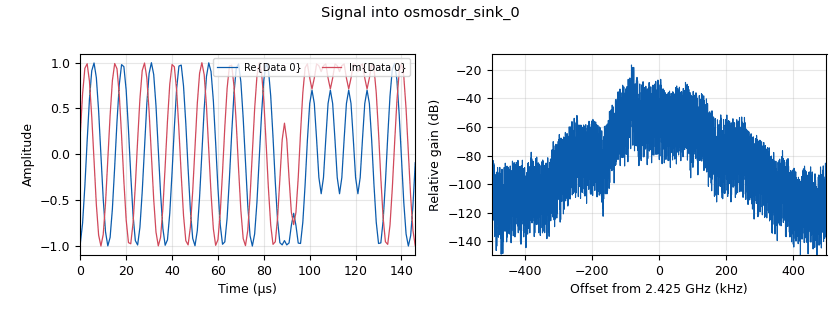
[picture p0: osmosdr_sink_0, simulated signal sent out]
<?xml version='1.0' encoding='utf-8'?>
<?grc format='1' created='3.7.10'?>
<flow_graph>
<block>
<key>options</key>
<param><key>id</key><value>gfsk</value></param>
<param><key>category</key><value>Custom</value></param>
<param><key>generate_options</key><value>wx_gui</value></param>
</block>
<block>
<key>variable_slider</key>
<param><key>id</key><value>bb_gain</value></param>
<param><key>converver</key><value>int_converter</value></param>
<param><key>value</key><value>30</value></param>
<param><key>label</key><value></value></param>
<param><key>max</key><value>100</value></param>
<param><key>min</key><value>0</value></param>
<param><key>num_steps</key><value>100</value></param>
<param><key>style</key><value>wx.SL_HORIZONTAL</value></param>
</block>
<block>
<key>variable</key>
<param><key>id</key><value>bitrate</value></param>
<param><key>_enabled</key><value>0</value></param>
<param><key>value</key><value>2000000</value></param>
</block>
<block>
<key>variable</key>
<param><key>id</key><value>bitrate</value></param>
<param><key>value</key><value>250000</value></param>
</block>
<block>
<key>variable</key>
<param><key>id</key><value>bw</value></param>
<param><key>value</key><value>samp_rate</value></param>
</block>
<block>
<key>variable_slider</key>
<param><key>id</key><value>ch</value></param>
<param><key>converver</key><value>int_converter</value></param>
<param><key>value</key><value>25</value></param>
<param><key>label</key><value></value></param>
<param><key>max</key><value>128</value></param>
<param><key>min</key><value>0</value></param>
<param><key>num_steps</key><value>128</value></param>
<param><key>style</key><value>wx.SL_HORIZONTAL</value></param>
</block>
<block>
<key>variable</key>
<param><key>id</key><value>fc</value></param>
<param><key>value</key><value>2400000000+ch*1000000</value></param>
</block>
<block>
<key>variable</key>
<param><key>id</key><value>fsk_deviation_hz</value></param>
<param><key>value</key><value>170000</value></param>
</block>
<block>
<key>variable_slider</key>
<param><key>id</key><value>if_gain</value></param>
<param><key>converver</key><value>int_converter</value></param>
<param><key>value</key><value>20</value></param>
<param><key>label</key><value></value></param>
<param><key>max</key><value>100</value></param>
<param><key>min</key><value>0</value></param>
<param><key>num_steps</key><value>100</value></param>
<param><key>style</key><value>wx.SL_HORIZONTAL</value></param>
</block>
<block>
<key>variable_slider</key>
<param><key>id</key><value>rf_gain</value></param>
<param><key>converver</key><value>int_converter</value></param>
<param><key>value</key><value>0</value></param>
<param><key>label</key><value></value></param>
<param><key>max</key><value>100</value></param>
<param><key>min</key><value>0</value></param>
<param><key>num_steps</key><value>100</value></param>
<param><key>style</key><value>wx.SL_HORIZONTAL</value></param>
</block>
<block>
<key>variable</key>
<param><key>id</key><value>samp_rate</value></param>
<param><key>value</key><value>1000000</value></param>
</block>
<block>
<key>blocks_vector_source_x</key>
<param><key>id</key><value>blocks_vector_source_x_1</value></param>
<param><key>maxoutbuf</key><value>20</value></param>
<param><key>minoutbuf</key><value>20</value></param>
<param><key>type</key><value>byte</value></param>
<param><key>repeat</key><value>True</value></param>
<param><key>vector</key><value>[0x00, 0xaa, 0xa2, 0x00, 0x09, 0x89, 0x0f, 0x00, 0x00, 0x00, 0x00, 0x00, 0x40, 0x00, 0x00, 0x00, 0x95, 0x7f, 0x1e]</value></param>
</block>
<block>
<key>digital_gfsk_mod</key>
<param><key>id</key><value>digital_gfsk_mod_0</value></param>
<param><key>bt</key><value>0.5</value></param>
<param><key>samples_per_symbol</key><value>samp_rate/bitrate</value></param>
<param><key>sensitivity</key><value>0.5</value></param>
</block>
<block>
<key>osmosdr_sink</key>
<param><key>id</key><value>osmosdr_sink_0</value></param>
<param><key>bb_gain0</key><value>bb_gain</value></param>
<param><key>bw0</key><value>samp_rate</value></param>
<param><key>freq0</key><value>fc</value></param>
<param><key>if_gain0</key><value>if_gain</value></param>
<param><key>gain0</key><value>rf_gain</value></param>
<param><key>args</key><value></value></param>
<param><key>type</key><value>fc32</value></param>
<param><key>sample_rate</key><value>samp_rate</value></param>
<param><key>sync</key><value></value></param>
</block>
<block>
<key>uhd_usrp_sink</key>
<param><key>id</key><value>uhd_usrp_sink_0</value></param>
<param><key>ant0</key><value></value></param>
<param><key>bw0</key><value>bitrate</value></param>
<param><key>center_freq0</key><value>fc</value></param>
<param><key>norm_gain0</key><value>False</value></param>
<param><key>gain0</key><value>0</value></param>
<param><key>clock_rate</key><value>0.0</value></param>
<param><key>dev_args</key><value>""</value></param>
<param><key>_enabled</key><value>0</value></param>
<param><key>type</key><value>fc32</value></param>
<param><key>samp_rate</key><value>samp_rate</value></param>
<param><key>hide_cmd_port</key><value>False</value></param>
<param><key>sync</key><value></value></param>
<param><key>len_tag_name</key><value></value></param>
</block>
<connection><source_block_id>blocks_vector_source_x_1</source_block_id><sink_block_id>digital_gfsk_mod_0</sink_block_id><source_key>0</source_key><sink_key>0</sink_key></connection>
<connection><source_block_id>digital_gfsk_mod_0</source_block_id><sink_block_id>osmosdr_sink_0</sink_block_id><source_key>0</source_key><sink_key>0</sink_key></connection>
<connection><source_block_id>digital_gfsk_mod_0</source_block_id><sink_block_id>uhd_usrp_sink_0</sink_block_id><source_key>0</source_key><sink_key>0</sink_key></connection>
</flow_graph>
